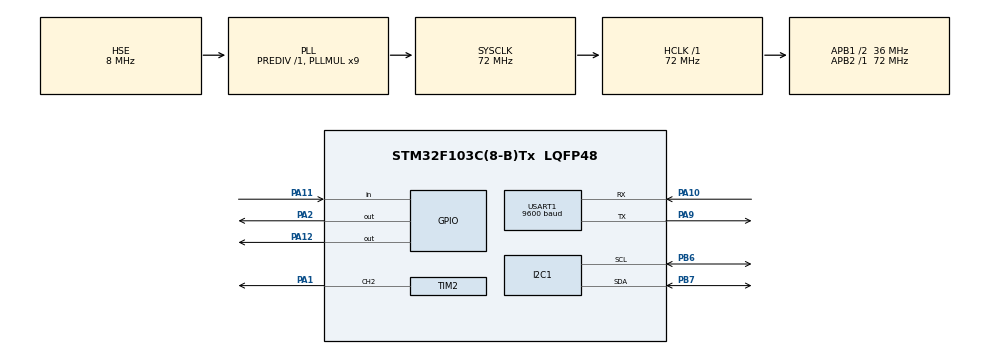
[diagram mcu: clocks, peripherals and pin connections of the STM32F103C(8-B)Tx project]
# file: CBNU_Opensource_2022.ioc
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I2C1.I2C_Mode=I2C_Fast
Mcu.Family=STM32F1
Mcu.Name=STM32F103C(8-B)Tx
Mcu.Package=LQFP48
NVIC.PriorityGroup=NVIC_PRIORITYGROUP_4
NVIC.USART1_IRQn=true\:0\:0\:false\:false\:true\:true\:true\:true
PA1.Signal=S_TIM2_CH2
PA10.Mode=Asynchronous
PA10.Signal=USART1_RX
PA11.Signal=GPIO_Input
PA12.Signal=GPIO_Output
PA13.Mode=Serial_Wire
PA13.Signal=SYS_JTMS-SWDIO
PA14.Mode=Serial_Wire
PA14.Signal=SYS_JTCK-SWCLK
PA2.Signal=GPIO_Output
PA9.Mode=Asynchronous
PA9.Signal=USART1_TX
PB6.Mode=I2C
PB6.Signal=I2C1_SCL
PB7.Mode=I2C
PB7.Signal=I2C1_SDA
PD0-OSC_IN.Mode=HSE-External-Oscillator
PD0-OSC_IN.Signal=RCC_OSC_IN
PD1-OSC_OUT.Mode=HSE-External-Oscillator
PD1-OSC_OUT.Signal=RCC_OSC_OUT
ProjectManager.HeapSize=0x200
ProjectManager.StackSize=0x400
ProjectManager.TargetToolchain=TrueSTUDIO
RCC.AHBFreq_Value=72000000
RCC.APB1CLKDivider=RCC_HCLK_DIV2
RCC.APB1Freq_Value=36000000
RCC.APB1TimFreq_Value=72000000
RCC.APB2Freq_Value=72000000
RCC.APB2TimFreq_Value=72000000
RCC.HCLKFreq_Value=72000000
RCC.PLLMUL=RCC_PLL_MUL9
RCC.PLLSourceVirtual=RCC_PLLSOURCE_HSE
RCC.SYSCLKFreq_VALUE=72000000
RCC.SYSCLKSource=RCC_SYSCLKSOURCE_PLLCLK
RCC.USBFreq_Value=72000000
SH.S_TIM2_CH2.0=TIM2_CH2,PWM Generation2 CH2
TIM1.Prescaler=71
TIM2.Channel-PWM\ Generation2\ CH2=TIM_CHANNEL_2
TIM2.Period=20
TIM2.Prescaler=127
USART1.BaudRate=9600
USART1.VirtualMode=VM_ASYNC
VP_TIM1_VS_ClockSourceINT.Mode=Internal
VP_TIM2_VS_ClockSourceINT.Mode=Internal
board=custom

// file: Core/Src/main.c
/* USER CODE BEGIN Header */
/**
  ******************************************************************************
  * @file           : main.c
  * @brief          : Main program body
  ******************************************************************************
  * @attention
  *
  * Copyright (c) 2022 STMicroelectronics.
  * All rights reserved.
  *
  * This software is licensed under terms that can be found in the LICENSE file
  * in the root directory of this software component.
  * If no LICENSE file comes with this software, it is provided AS-IS.
  *
  ******************************************************************************
  */
/* USER CODE END Header */
#include "main.h"
#include "i2c.h"
#include "tim.h"
#include "usart.h"
#include "gpio.h"

/* USER CODE BEGIN Includes */
#include "fonts.h"
#include "ssd1306.h"
#include "stdio.h"
/* USER CODE END Includes */

/* USER CODE BEGIN PV */
#define TRIG_PIN GPIO_PIN_12
#define TRIG_PORT GPIOA
#define ECHO_PIN GPIO_PIN_11
#define ECHO_PORT GPIOA
uint32_t pMillis;
uint32_t Value1 = 0;
uint32_t Value2 = 0;
uint16_t Distance  = 0;  // cm
char strCopy[15];
/* USER CODE END PV */

void SystemClock_Config(void);

int main(void)
{

  /* MCU Configuration--------------------------------------------------------*/

  /* Reset of all peripherals, Initializes the Flash interface and the Systick. */
  HAL_Init();

  /* Configure the system clock */
  SystemClock_Config();

  /* Initialize all configured peripherals */
  MX_GPIO_Init();
  MX_I2C1_Init();
  MX_USART1_UART_Init();
  MX_TIM2_Init();
  MX_TIM1_Init();
  /* USER CODE BEGIN 2 */
  HAL_TIM_Base_Start(&htim1);
    HAL_GPIO_WritePin(TRIG_PORT, TRIG_PIN, GPIO_PIN_RESET);  // pull the TRIG pin low
    SSD1306_Init();

  HAL_TIM_PWM_Start(&htim2, TIM_CHANNEL_2); // buzzer pin
  /* USER CODE BEGIN PV */
  uint8_t rxData;
  /* USER CODE END PV */

   /* USER CODE BEGIN 2 */
   HAL_UART_Receive_IT(&huart1,&rxData,1); // Enabling interrupt receive
   uint8_t str[] = "Distance: %d\n\r",Distance;
  /* USER CODE END 2 */

  /* Infinite loop */
  /* USER CODE BEGIN WHILE */
  while (1)
  {
	 HAL_GPIO_WritePin(TRIG_PORT, TRIG_PIN, GPIO_PIN_SET);  // pull the TRIG pin HIGH
	  __HAL_TIM_SET_COUNTER(&htim1, 0);
	   while (__HAL_TIM_GET_COUNTER (&htim1) < 10);  // wait for 10 us
	   HAL_GPIO_WritePin(TRIG_PORT, TRIG_PIN, GPIO_PIN_RESET);  // pull the TRIG pin low

	   pMillis = HAL_GetTick(); // used this to avoid infinite while loop  (for timeout)
	   // wait for the echo pin to go high
	   while (!(HAL_GPIO_ReadPin (ECHO_PORT, ECHO_PIN)) && pMillis + 10 >  HAL_GetTick());
	   Value1 = __HAL_TIM_GET_COUNTER (&htim1);

	   pMillis = HAL_GetTick(); // used this to avoid infinite while loop (for timeout)
	   // wait for the echo pin to go low
	   while ((HAL_GPIO_ReadPin (ECHO_PORT, ECHO_PIN)) && pMillis + 50 > HAL_GetTick());
	   Value2 = __HAL_TIM_GET_COUNTER (&htim1);

	   Distance = (Value2-Value1)* 0.034/2;

	   SSD1306_GotoXY (0, 0);
	   SSD1306_Puts ("Distance:", &Font_11x18, 1);
	   sprintf(strCopy,"%d    ", Distance);
	   SSD1306_GotoXY (0, 30);
	   SSD1306_Puts (strCopy, &Font_16x26, 1);
	   SSD1306_UpdateScreen();
	   HAL_Delay(50);

	   if(Distance<20)
	    {

	      int x;
	      HAL_UART_THALransmit_IT(&huart3, str, sizeof(str));
	      HAL_Delay(1000-1);
	      for(x=1000; x<1100; x=x+1)
	      {
	     		   __HAL_TIM_SET_AUTORELOAD(&htim2, x);
	     		   __HAL_TIM_SET_COMPARE(&htim2,TIM_CHANNEL_2, 100);
	     		   HAL_Delay(100);
	     		   } // 100*100 = 10sec
	     		  __HAL_TIM_SET_COMPARE(&htim2,TIM_CHANNEL_2, 0);
	     		  HAL_Delay(100);
	     }
	    else{

	     }

    /* USER CODE END WHILE */

  }
}

void SystemClock_Config(void)
{
  RCC_OscInitTypeDef RCC_OscInitStruct = {0};
  RCC_ClkInitTypeDef RCC_ClkInitStruct = {0};

  /** Initializes the RCC Oscillators according to the specified parameters
  * in the RCC_OscInitTypeDef structure.
  */
  RCC_OscInitStruct.OscillatorType = RCC_OSCILLATORTYPE_HSE;
  RCC_OscInitStruct.HSEState = RCC_HSE_ON;
  RCC_OscInitStruct.HSEPredivValue = RCC_HSE_PREDIV_DIV1;
  RCC_OscInitStruct.HSIState = RCC_HSI_ON;
  RCC_OscInitStruct.PLL.PLLState = RCC_PLL_ON;
  RCC_OscInitStruct.PLL.PLLSource = RCC_PLLSOURCE_HSE;
  RCC_OscInitStruct.PLL.PLLMUL = RCC_PLL_MUL9;
  if (HAL_RCC_OscConfig(&RCC_OscInitStruct) != HAL_OK)
  {
    Error_Handler();
  }

  /** Initializes the CPU, AHB and APB buses clocks
  */
  RCC_ClkInitStruct.ClockType = RCC_CLOCKTYPE_HCLK|RCC_CLOCKTYPE_SYSCLK
                              |RCC_CLOCKTYPE_PCLK1|RCC_CLOCKTYPE_PCLK2;
  RCC_ClkInitStruct.SYSCLKSource = RCC_SYSCLKSOURCE_PLLCLK;
  RCC_ClkInitStruct.AHBCLKDivider = RCC_SYSCLK_DIV1;
  RCC_ClkInitStruct.APB1CLKDivider = RCC_HCLK_DIV2;
  RCC_ClkInitStruct.APB2CLKDivider = RCC_HCLK_DIV1;

  if (HAL_RCC_ClockConfig(&RCC_ClkInitStruct, FLASH_LATENCY_2) != HAL_OK)
  {
    Error_Handler();
  }
}

/* USER CODE BEGIN 4 */
void HAL_UART_RxCpltCallback(UART_HandleTypeDef *huart)
{
  if(huart->Instance==USART1)
  {

}
}
/* USER CODE END 4 */

void Error_Handler(void)
{
  __disable_irq();
  while (1)
  {
  }
}
